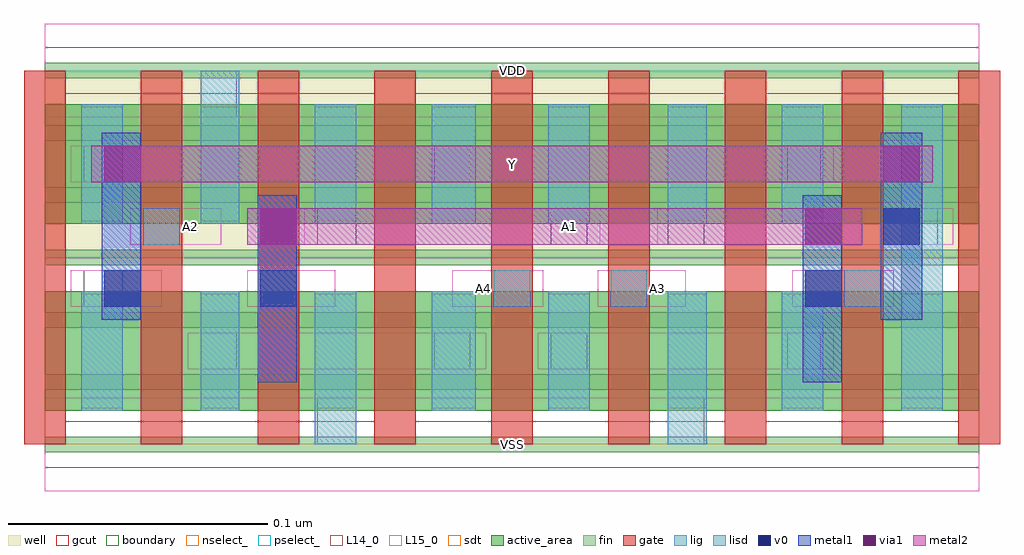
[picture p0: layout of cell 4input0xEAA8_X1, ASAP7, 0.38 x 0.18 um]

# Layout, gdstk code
import gdstk
lib = gdstk.Library(unit=1e-6, precision=1e-09)
def R(c, l, rs):  # rectangles x0, y0, x1, y1
    for r in rs: c.add(gdstk.rectangle(r[:2], r[2:], *l))
def A(c, l, x, y, w, h, nx, ny, dx, dy):  # array of equal rectangles
    R(c, l, [(x+i*dx, y+j*dy, x+i*dx+w, y+j*dy+h) for i in range(nx) for j in range(ny)])
def P(c, l, *ps):  # polygons
    for p in ps: c.add(gdstk.Polygon(p, *l))
well = (1, 0)
fin = (2, 0)
gate = (7, 0)
gcut = (10, 0)
active_area = (11, 0)
nselect_ = (12, 0)
pselect_ = (13, 0)
L14_0 = (14, 0)
L15_0 = (15, 0)
lig = (16, 0)
lisd = (17, 0)
v0 = (18, 0)
metal1 = (19, 0)
metal2 = (20, 0)
via1 = (21, 0)
sdt = (88, 0)
boundary = (100, 0)

c_4input0xeaa8_x1 = lib.new_cell('4input0xEAA8_X1')
R(c_4input0xeaa8_x1, well, [(0,0.072,0.36,0.144)])
A(c_4input0xeaa8_x1, fin, 0, -0.003, 0.36, 0.006, 1, 7, 0, 0.024)
A(c_4input0xeaa8_x1, gate, -0.008, 0, 0.016, 0.144, 9, 1, 0.045, 0)
P(c_4input0xeaa8_x1, gcut, [(0,-0.009),(0,0),(-0.008,0),(-0.008,0.135),(0.008,0.135),(0.008,0.009),(0.127,0.009),(0.127,0.135),(0.143,0.135),(0.143,0.009),(0.262,0.009),(0.262,0.135),(0.278,0.135),(0.278,0.009),(0.352,0.009),(0.352,0.135),(-0.008,0.135),(-0.008,0.144),(0,0.144),(0,0.153),(0.36,0.153),(0.36,0.144),(0.368,0.144),(0.368,0),(0.36,0),(0.36,-0.009)])
R(c_4input0xeaa8_x1, active_area, [(0,0.013,0.36,0.059), (0,0.085,0.36,0.131)])
R(c_4input0xeaa8_x1, nselect_, [(0,0,0.36,0.072)])
R(c_4input0xeaa8_x1, pselect_, [(0,0.072,0.36,0.144)])
R(c_4input0xeaa8_x1, L14_0, [(0.105,0,0.12,0.018), (0.24,0,0.254,0.018), (0.06,0.029,0.074,0.043), (0.15,0.029,0.164,0.043), (0.195,0.029,0.209,0.043), (0.286,0.029,0.299,0.043), (0.015,0.053,0.03,0.067), (0.083,0.053,0.097,0.067), (0.173,0.053,0.187,0.067), (0.218,0.053,0.232,0.067), (0.308,0.053,0.322,0.067), (0.038,0.077,0.052,0.091), (0.105,0.077,0.12,0.091), (0.195,0.077,0.209,0.091), (0.24,0.077,0.254,0.091), (0.33,0.077,0.344,0.091), (0.015,0.101,0.03,0.115), (0.15,0.101,0.164,0.115), (0.286,0.101,0.299,0.115), (0.06,0.126,0.074,0.144)])
R(c_4input0xeaa8_x1, L15_0, [(0,-0.018,0.36,0.018), (0.055,0.029,0.17,0.043), (0.19,0.029,0.304,0.043), (0.01,0.053,0.045,0.067), (0.078,0.053,0.112,0.067), (0.157,0.053,0.192,0.067), (0.213,0.053,0.247,0.067), (0.288,0.053,0.327,0.067), (0.033,0.077,0.068,0.091), (0.1,0.077,0.214,0.091), (0.236,0.077,0.35,0.091), (0.01,0.101,0.304,0.115), (0,0.126,0.36,0.162)])
R(c_4input0xeaa8_x1, lig, [(0.083,0.053,0.097,0.067), (0.173,0.053,0.187,0.067), (0.218,0.053,0.232,0.067), (0.308,0.053,0.322,0.067), (0.038,0.077,0.052,0.091)])
A(c_4input0xeaa8_x1, lisd, 0.014, 0.085, 0.016, 0.046, 4, 1, 0.09, 0)
R(c_4input0xeaa8_x1, lisd, [(0.104,0,0.12,0.059), (0.24,0,0.255,0.059), (0.014,0.013,0.03,0.059), (0.06,0.013,0.075,0.059), (0.149,0.013,0.166,0.059), (0.194,0.013,0.21,0.059), (0.284,0.013,0.3,0.059), (0.33,0.013,0.346,0.131), (0.06,0.085,0.075,0.144), (0.149,0.085,0.166,0.131), (0.24,0.085,0.255,0.131)])
R(c_4input0xeaa8_x1, v0, [(0.023,0.053,0.037,0.067), (0.083,0.053,0.097,0.067), (0.293,0.053,0.307,0.067), (0.323,0.077,0.337,0.091)])
R(c_4input0xeaa8_x1, metal1, [(0.082,0.024,0.097,0.096), (0.292,0.024,0.307,0.096), (0.022,0.048,0.037,0.12), (0.322,0.048,0.338,0.12)])
R(c_4input0xeaa8_x1, metal2, [(0.078,0.077,0.315,0.091), (0.018,0.101,0.342,0.115)])
R(c_4input0xeaa8_x1, via1, [(0.083,0.077,0.097,0.091), (0.293,0.077,0.307,0.091), (0.023,0.101,0.037,0.115), (0.323,0.101,0.337,0.115)])
A(c_4input0xeaa8_x1, sdt, 0.014, 0.014, 0.016, 0.044, 4, 2, 0.09, 0.072)
R(c_4input0xeaa8_x1, sdt, [(0.06,0.014,0.075,0.058), (0.149,0.014,0.166,0.058), (0.24,0.014,0.255,0.058), (0.33,0.014,0.346,0.058), (0.06,0.086,0.075,0.13), (0.149,0.086,0.166,0.13), (0.24,0.086,0.255,0.13), (0.33,0.086,0.346,0.13)])
R(c_4input0xeaa8_x1, boundary, [(0,0,0.36,0.144)])
c_4input0xeaa8_x1.add(gdstk.Label('A2', (0.056,0.084), layer=15, texttype=251))
c_4input0xeaa8_x1.add(gdstk.Label('VSS', (0.18,0), layer=15, texttype=251))
c_4input0xeaa8_x1.add(gdstk.Label('VDD', (0.18,0.144), layer=15, texttype=251))
c_4input0xeaa8_x1.add(gdstk.Label('VSS', (0.18,0), layer=15, texttype=251))
c_4input0xeaa8_x1.add(gdstk.Label('VDD', (0.18,0.144), layer=15, texttype=251))
c_4input0xeaa8_x1.add(gdstk.Label('VSS', (0.18,0), layer=15, texttype=251))
c_4input0xeaa8_x1.add(gdstk.Label('VDD', (0.18,0.144), layer=15, texttype=251))
c_4input0xeaa8_x1.add(gdstk.Label('A3', (0.236,0.06), layer=15, texttype=251))
c_4input0xeaa8_x1.add(gdstk.Label('VSS', (0.18,0), layer=15, texttype=251))
c_4input0xeaa8_x1.add(gdstk.Label('VDD', (0.18,0.144), layer=15, texttype=251))
c_4input0xeaa8_x1.add(gdstk.Label('A4', (0.169,0.06), layer=15, texttype=251))
c_4input0xeaa8_x1.add(gdstk.Label('VSS', (0.18,0), layer=15, texttype=251))
c_4input0xeaa8_x1.add(gdstk.Label('VDD', (0.18,0.144), layer=15, texttype=251))
c_4input0xeaa8_x1.add(gdstk.Label('VSS', (0.18,0), layer=3, texttype=251))
c_4input0xeaa8_x1.add(gdstk.Label('VSS', (0.18,0), layer=3, texttype=251))
c_4input0xeaa8_x1.add(gdstk.Label('VSS', (0.18,0), layer=3, texttype=251))
c_4input0xeaa8_x1.add(gdstk.Label('VSS', (0.18,0), layer=3, texttype=251))
c_4input0xeaa8_x1.add(gdstk.Label('VSS', (0.18,0), layer=3, texttype=251))
c_4input0xeaa8_x1.add(gdstk.Label('VDD', (0.18,0.144), layer=1, texttype=251))
c_4input0xeaa8_x1.add(gdstk.Label('VDD', (0.18,0.144), layer=1, texttype=251))
c_4input0xeaa8_x1.add(gdstk.Label('VDD', (0.18,0.144), layer=1, texttype=251))
c_4input0xeaa8_x1.add(gdstk.Label('VDD', (0.18,0.144), layer=1, texttype=251))
c_4input0xeaa8_x1.add(gdstk.Label('VDD', (0.18,0.144), layer=1, texttype=251))
c_4input0xeaa8_x1.add(gdstk.Label('A1', (0.202,0.084), layer=20, texttype=251))
c_4input0xeaa8_x1.add(gdstk.Label('Y', (0.18,0.108), layer=20, texttype=251))

lib.write_gds('4input0xEAA8_X1.gds')
